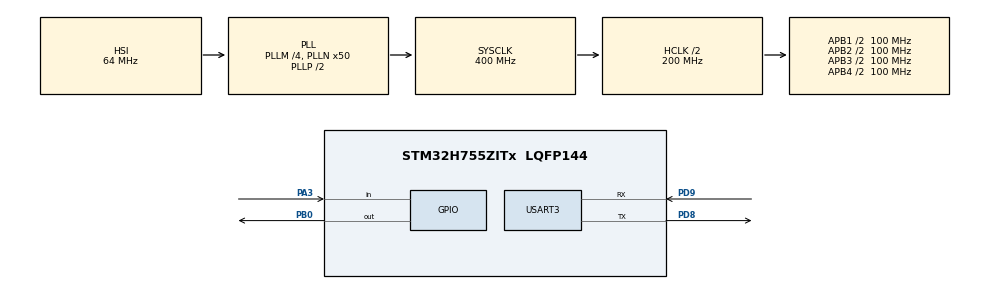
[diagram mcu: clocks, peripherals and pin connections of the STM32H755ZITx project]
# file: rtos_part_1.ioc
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CortexM4.IPs=FATFS_M4\:I,FREERTOS_M4\:I,IWDG2\:I,RCC,WWDG2\:I,DMA,BDMA,MDMA,NVIC2\:I,ETH,DEBUG,PDM2PCM_M4\:I,PWR,RESMGR_UTILITY,SYS_M4\:I,USB_DEVICE_M4\:I,USB_HOST_M4\:I,CORTEX_M4\:I,GPIO,OPENAMP_M4\:I,VREFBUF,NUCLEO-H755ZI-Q
CortexM7.IPs=FATFS_M7\:I,FREERTOS_M7\:I,IWDG1\:I,RCC\:I,WWDG1\:I,DMA\:I,BDMA\:I,MDMA\:I,NVIC1\:I,ETH\:I,USB_OTG_FS\:I,USB_OTG_FS1\:I,SYS\:I,CORTEX_M7\:I,DEBUG\:I,PDM2PCM_M7\:I,PWR\:I,RESMGR_UTILITY\:I,USB_DEVICE_M7\:I,USB_HOST_M7\:I,GPIO\:I,OPENAMP_M7\:I,VREFBUF\:I,NUCLEO-H755ZI-Q\:I,TIM6\:I,USART3\:I
CortexM7.Pins=PA3,PB0
FREERTOS_M7.Tasks01=Task1,24,128,Start_Task1,Default,NULL,Dynamic,NULL,NULL;Task02,24,256,StartTask02,Default,NULL,Dynamic,NULL,NULL;Task03,24,526,StartTask03,Default,NULL,Dynamic,NULL,NULL;monitor_Task,8,512,Start_monitor_04,Default,NULL,Dynamic,NULL,NULL
FREERTOS_M7.configCHECK_FOR_STACK_OVERFLOW=2
FREERTOS_M7.configUSE_NEWLIB_REENTRANT=1
Mcu.Family=STM32H7
Mcu.Name=STM32H755ZITx
Mcu.Package=LQFP144
NVIC1.PriorityGroup=NVIC_PRIORITYGROUP_4
NVIC1.TIM6_DAC_IRQn=true\:15\:0\:false\:false\:true\:false\:false\:true\:true
NVIC1.TimeBase=TIM6_DAC_IRQn
NVIC1.TimeBaseIP=TIM6
NVIC1.USART3_IRQn=true\:5\:0\:false\:false\:true\:true\:true\:true\:true
NVIC2.PriorityGroup=NVIC_PRIORITYGROUP_4
PA3.GPIO_PuPd=GPIO_PULLUP
PA3.PinAttribute=CortexM7
PA3.Signal=GPIO_Input
PB0.PinAttribute=CortexM7
PB0.PinState=GPIO_PIN_SET
PB0.Signal=GPIO_Output
PD8.Mode=Asynchronous
PD8.PinAttribute=CortexM7
PD8.Signal=USART3_TX
PD9.Mode=Asynchronous
PD9.PinAttribute=CortexM7
PD9.Signal=USART3_RX
ProjectManager.HeapSize=M4-0x200,M7-0x200
ProjectManager.StackSize=M4-0x400,M7-0x400
ProjectManager.TargetToolchain=STM32CubeIDE
RCC.ADCFreq_Value=129000000
RCC.APB1Freq_Value=100000000
RCC.APB2Freq_Value=100000000
RCC.APB3Freq_Value=100000000
RCC.APB4Freq_Value=100000000
RCC.CortexFreq_Value=400000000
RCC.D1PPRE=RCC_APB3_DIV2
RCC.D2PPRE1=RCC_APB1_DIV2
RCC.D2PPRE2=RCC_APB2_DIV2
RCC.D3PPRE=RCC_APB4_DIV2
RCC.DIVM1=4
RCC.DIVN1=50
RCC.DIVQ1=5
RCC.HCLKFreq_Value=200000000
RCC.HPRE=RCC_HCLK_DIV2
RCC.PLL2FRACN=0
RCC.PLL3FRACN=0
RCC.PLLFRACN=0
RCC.SYSCLKFreq_VALUE=400000000
RCC.SYSCLKSource=RCC_SYSCLKSOURCE_PLLCLK
RCC.SupplySource=PWR_DIRECT_SMPS_SUPPLY
RCC.USBFreq_Value=160000000
USART3.VirtualMode-Asynchronous=VM_ASYNC
VP_FREERTOS_M7_VS_CMSIS_V2.Mode=CMSIS_V2
VP_SYS_M4_VS_Systick.Mode=SysTick
VP_SYS_VS_tim6.Mode=TIM6
board=NUCLEO-H755ZI-Q

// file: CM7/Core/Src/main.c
/* USER CODE BEGIN Header */
/**
  ******************************************************************************
  * @file           : main.c
  * @brief          : Main program body
  ******************************************************************************
  * @attention
  *
  * Copyright (c) 2026 STMicroelectronics.
  * All rights reserved.
  *
  * This software is licensed under terms that can be found in the LICENSE file
  * in the root directory of this software component.
  * If no LICENSE file comes with this software, it is provided AS-IS.
  *
  ******************************************************************************
  */
/* USER CODE END Header */
#include "main.h"
#include "FreeRTOS.h"
#include "cmsis_os2.h"

/* USER CODE BEGIN Includes */
#include "stdio.h"
/* USER CODE END Includes */

/* USER CODE BEGIN PD */

/* DUAL_CORE_BOOT_SYNC_SEQUENCE: Define for dual core boot synchronization    */
/*                             demonstration code based on hardware semaphore */
/* This define is present in both CM7/CM4 projects                            */
/* To comment when developping/debugging on a single core                     */
#define DUAL_CORE_BOOT_SYNC_SEQUENCE

#if defined(DUAL_CORE_BOOT_SYNC_SEQUENCE)
#ifndef HSEM_ID_0
#define HSEM_ID_0 (0U) /* HW semaphore 0*/
#endif
#endif /* DUAL_CORE_BOOT_SYNC_SEQUENCE */

/* USER CODE END PD */

UART_HandleTypeDef huart3;

/* Definitions for Task1 */
osThreadId_t Task1Handle;
const osThreadAttr_t Task1_attributes = {
  .name = "Task1",
  .stack_size = 128 * 4,
  .priority = (osPriority_t) osPriorityNormal,
};
/* Definitions for Task02 */
osThreadId_t Task02Handle;
const osThreadAttr_t Task02_attributes = {
  .name = "Task02",
  .stack_size = 256 * 4,
  .priority = (osPriority_t) osPriorityNormal,
};
/* Definitions for Task03 */
osThreadId_t Task03Handle;
const osThreadAttr_t Task03_attributes = {
  .name = "Task03",
  .stack_size = 526 * 4,
  .priority = (osPriority_t) osPriorityNormal,
};
/* Definitions for monitor_Task */
osThreadId_t monitor_TaskHandle;
const osThreadAttr_t monitor_Task_attributes = {
  .name = "monitor_Task",
  .stack_size = 512 * 4,
  .priority = (osPriority_t) osPriorityLow,
};
/* USER CODE BEGIN PV */
#define BUTTON_PRESS (1<<3)
#define UART_RECEIVED (1<<4)
uint8_t data_rece[10];
/* USER CODE END PV */

void SystemClock_Config(void);
static void MX_GPIO_Init(void);
static void MX_USART3_UART_Init(void);
void Start_Task1(void *argument);
void StartTask02(void *argument);
void StartTask03(void *argument);
void Start_monitor_04(void *argument);

/* USER CODE BEGIN 0 */
typedef struct {
	uint32_t timestamp;
	uint32_t event_id;
}message_q_t;
int _io_putchar(uint8_t ch){
	HAL_UART_Transmit(&huart3,&ch, 1, HAL_MAX_DELAY);
	return ch;
}
 int _write(int file, char *ptr, int len)
{
  (void)file;
  int DataIdx;

  for (DataIdx = 0; DataIdx < len; DataIdx++)
  {
	  _io_putchar(*ptr++);
  }
  return len;
}

// int getResource(char *taskName){
//	 for(int i=0;i<3;i++){
//		 if(strcmp(resourceowner[i],"free")==0)
//		 {
//			 resourceowner[i]=taskName;
//			 return i;
//		 }
//	 }
//	 return -1;
// }

// void printResourceTable(void){
//	 printf("\nResource Table \n");
//	 for(int i=0;i<3;i++){
//		 printf("resource %d -> %s\n",resources[i],resourceowner[i]);
//	 }
//	 printf("\n");
//
// }

/* USER CODE END 0 */

int main(void)
{

/* USER CODE BEGIN Boot_Mode_Sequence_0 */
//#if defined(DUAL_CORE_BOOT_SYNC_SEQUENCE)
//  int32_t timeout;
//#endif /* DUAL_CORE_BOOT_SYNC_SEQUENCE */
/* USER CODE END Boot_Mode_Sequence_0 */

/* USER CODE BEGIN Boot_Mode_Sequence_1 */
//#if defined(DUAL_CORE_BOOT_SYNC_SEQUENCE)
//  /* Wait until CPU2 boots and enters in stop mode or timeout*/
//  timeout = 0xFFFF;
//  while((__HAL_RCC_GET_FLAG(RCC_FLAG_D2CKRDY) != RESET) && (timeout-- > 0));
//  if ( timeout < 0 )
//  {
//  Error_Handler();
//  }
//#endif /* DUAL_CORE_BOOT_SYNC_SEQUENCE */
/* USER CODE END Boot_Mode_Sequence_1 */
  /* MCU Configuration--------------------------------------------------------*/

  /* Reset of all peripherals, Initializes the Flash interface and the Systick. */
  HAL_Init();

  /* Configure the system clock */
  SystemClock_Config();
/* USER CODE BEGIN Boot_Mode_Sequence_2 */
//#if defined(DUAL_CORE_BOOT_SYNC_SEQUENCE)
///* When system initialization is finished, Cortex-M7 will release Cortex-M4 by means of
//HSEM notification */
///*HW semaphore Clock enable*/
//__HAL_RCC_HSEM_CLK_ENABLE();
///*Take HSEM */
//HAL_HSEM_FastTake(HSEM_ID_0);
///*Release HSEM in order to notify the CPU2(CM4)*/
//HAL_HSEM_Release(HSEM_ID_0,0);
///* wait until CPU2 wakes up from stop mode */
//timeout = 0xFFFF;
//while((__HAL_RCC_GET_FLAG(RCC_FLAG_D2CKRDY) == RESET) && (timeout-- > 0));
//if ( timeout < 0 )
//{
//Error_Handler();
//}
//#endif /* DUAL_CORE_BOOT_SYNC_SEQUENCE */
/* USER CODE END Boot_Mode_Sequence_2 */

  /* Initialize all configured peripherals */
  MX_GPIO_Init();
  MX_USART3_UART_Init();
  /* USER CODE BEGIN 2 */
HAL_UART_Receive_IT(&huart3, data_rece, 5);
  /* USER CODE END 2 */

  /* Init scheduler */
  osKernelInitialize();

  /* Create the thread(s) */
  /* creation of Task1 */
  Task1Handle = osThreadNew(Start_Task1, NULL, &Task1_attributes);

  /* creation of Task02 */
  Task02Handle = osThreadNew(StartTask02, NULL, &Task02_attributes);

  /* creation of Task03 */
  Task03Handle = osThreadNew(StartTask03, NULL, &Task03_attributes);

  /* creation of monitor_Task */
  monitor_TaskHandle = osThreadNew(Start_monitor_04, NULL, &monitor_Task_attributes);

  /* Start scheduler */
  osKernelStart();

  /* We should never get here as control is now taken by the scheduler */

  /* Infinite loop */
  while (1)
  {

  }
}

void SystemClock_Config(void)
{
  RCC_OscInitTypeDef RCC_OscInitStruct = {0};
  RCC_ClkInitTypeDef RCC_ClkInitStruct = {0};

  /** Supply configuration update enable
  */
  HAL_PWREx_ConfigSupply(PWR_DIRECT_SMPS_SUPPLY);

  /** Configure the main internal regulator output voltage
  */
  __HAL_PWR_VOLTAGESCALING_CONFIG(PWR_REGULATOR_VOLTAGE_SCALE1);

  while(!__HAL_PWR_GET_FLAG(PWR_FLAG_VOSRDY)) {}

  /** Initializes the RCC Oscillators according to the specified parameters
  * in the RCC_OscInitTypeDef structure.
  */
  RCC_OscInitStruct.OscillatorType = RCC_OSCILLATORTYPE_HSI;
  RCC_OscInitStruct.HSIState = RCC_HSI_DIV1;
  RCC_OscInitStruct.HSICalibrationValue = RCC_HSICALIBRATION_DEFAULT;
  RCC_OscInitStruct.PLL.PLLState = RCC_PLL_ON;
  RCC_OscInitStruct.PLL.PLLSource = RCC_PLLSOURCE_HSI;
  RCC_OscInitStruct.PLL.PLLM = 4;
  RCC_OscInitStruct.PLL.PLLN = 50;
  RCC_OscInitStruct.PLL.PLLP = 2;
  RCC_OscInitStruct.PLL.PLLQ = 5;
  RCC_OscInitStruct.PLL.PLLR = 2;
  RCC_OscInitStruct.PLL.PLLRGE = RCC_PLL1VCIRANGE_3;
  RCC_OscInitStruct.PLL.PLLVCOSEL = RCC_PLL1VCOWIDE;
  RCC_OscInitStruct.PLL.PLLFRACN = 0;
  if (HAL_RCC_OscConfig(&RCC_OscInitStruct) != HAL_OK)
  {
    Error_Handler();
  }

  /** Initializes the CPU, AHB and APB buses clocks
  */
  RCC_ClkInitStruct.ClockType = RCC_CLOCKTYPE_HCLK|RCC_CLOCKTYPE_SYSCLK
                              |RCC_CLOCKTYPE_PCLK1|RCC_CLOCKTYPE_PCLK2
                              |RCC_CLOCKTYPE_D3PCLK1|RCC_CLOCKTYPE_D1PCLK1;
  RCC_ClkInitStruct.SYSCLKSource = RCC_SYSCLKSOURCE_PLLCLK;
  RCC_ClkInitStruct.SYSCLKDivider = RCC_SYSCLK_DIV1;
  RCC_ClkInitStruct.AHBCLKDivider = RCC_HCLK_DIV2;
  RCC_ClkInitStruct.APB3CLKDivider = RCC_APB3_DIV2;
  RCC_ClkInitStruct.APB1CLKDivider = RCC_APB1_DIV2;
  RCC_ClkInitStruct.APB2CLKDivider = RCC_APB2_DIV2;
  RCC_ClkInitStruct.APB4CLKDivider = RCC_APB4_DIV2;

  if (HAL_RCC_ClockConfig(&RCC_ClkInitStruct, FLASH_LATENCY_2) != HAL_OK)
  {
    Error_Handler();
  }
}

static void MX_USART3_UART_Init(void)
{

  huart3.Instance = USART3;
  huart3.Init.BaudRate = 115200;
  huart3.Init.WordLength = UART_WORDLENGTH_8B;
  huart3.Init.StopBits = UART_STOPBITS_1;
  huart3.Init.Parity = UART_PARITY_NONE;
  huart3.Init.Mode = UART_MODE_TX_RX;
  huart3.Init.HwFlowCtl = UART_HWCONTROL_NONE;
  huart3.Init.OverSampling = UART_OVERSAMPLING_16;
  huart3.Init.OneBitSampling = UART_ONE_BIT_SAMPLE_DISABLE;
  huart3.Init.ClockPrescaler = UART_PRESCALER_DIV1;
  huart3.AdvancedInit.AdvFeatureInit = UART_ADVFEATURE_NO_INIT;
  if (HAL_UART_Init(&huart3) != HAL_OK)
  {
    Error_Handler();
  }
  if (HAL_UARTEx_SetTxFifoThreshold(&huart3, UART_TXFIFO_THRESHOLD_1_8) != HAL_OK)
  {
    Error_Handler();
  }
  if (HAL_UARTEx_SetRxFifoThreshold(&huart3, UART_RXFIFO_THRESHOLD_1_8) != HAL_OK)
  {
    Error_Handler();
  }
  if (HAL_UARTEx_DisableFifoMode(&huart3) != HAL_OK)
  {
    Error_Handler();
  }

}

static void MX_GPIO_Init(void)
{
  GPIO_InitTypeDef GPIO_InitStruct = {0};

  /* GPIO Ports Clock Enable */
  __HAL_RCC_GPIOA_CLK_ENABLE();
  __HAL_RCC_GPIOB_CLK_ENABLE();
  __HAL_RCC_GPIOD_CLK_ENABLE();

  /*Configure GPIO pin Output Level */
  HAL_GPIO_WritePin(GPIOB, GPIO_PIN_0, GPIO_PIN_SET);

  /*Configure GPIO pin : PA3 */
  GPIO_InitStruct.Pin = GPIO_PIN_3;
  GPIO_InitStruct.Mode = GPIO_MODE_INPUT;
  GPIO_InitStruct.Pull = GPIO_PULLUP;
  HAL_GPIO_Init(GPIOA, &GPIO_InitStruct);

  /*Configure GPIO pin : PB0 */
  GPIO_InitStruct.Pin = GPIO_PIN_0;
  GPIO_InitStruct.Mode = GPIO_MODE_OUTPUT_PP;
  GPIO_InitStruct.Pull = GPIO_NOPULL;
  GPIO_InitStruct.Speed = GPIO_SPEED_FREQ_LOW;
  HAL_GPIO_Init(GPIOB, &GPIO_InitStruct);

}

/* USER CODE BEGIN 4 */
#define TASK_EVENT_1 (1<<0)
#define TASK_EVENT_2 (1<<1)
#define TASK_EVENT_3 (1<<2)
#define TASK_EVENT_4 (1<<3)

/* USER CODE END 4 */

void Start_Task1(void *argument)
{
  /* USER CODE BEGIN 5 */
  /* Infinite loop */

uint32_t dat[55];
  for(;;)
  {
	  printf("hello from task1\n");
	  osDelay(2000);

}

  /* USER CODE END 5 */
}

void StartTask02(void *argument)
{
  for(;;)
  {
    osDelay(1);
  }
}

void StartTask03(void *argument)
{
  for(;;)
  {
    osDelay(1);
  }
}

void Start_monitor_04(void *argument)
{
  /* USER CODE BEGIN Start_monitor_04 */
	 uint32_t task1stack,task2stack,task3stack;
  /* Infinite loop */
  for(;;)
  {
	  osDelay(5000);
	task1stack=osThreadGetStackSpace(Task1Handle);
	task2stack=osThreadGetStackSpace(Task02Handle);

	task3stack=osThreadGetStackSpace(Task03Handle);
printf("the diff stack in order are task1 %lu\n task2  %lu\n task3 %lu\n",task1stack,task2stack,task3stack);

    osDelay(1);
  }
  /* USER CODE END Start_monitor_04 */
}

void HAL_TIM_PeriodElapsedCallback(TIM_HandleTypeDef *htim)
{
  if (htim->Instance == TIM6)
  {
    HAL_IncTick();
  }
}

void Error_Handler(void)
{
  __disable_irq();
  while (1)
  {
  }
}

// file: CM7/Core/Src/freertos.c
/* USER CODE BEGIN Header */
/**
  ******************************************************************************
  * File Name          : freertos.c
  * Description        : Code for freertos applications
  ******************************************************************************
  * @attention
  *
  * Copyright (c) 2026 STMicroelectronics.
  * All rights reserved.
  *
  * This software is licensed under terms that can be found in the LICENSE file
  * in the root directory of this software component.
  * If no LICENSE file comes with this software, it is provided AS-IS.
  *
  ******************************************************************************
  */
/* USER CODE END Header */

#include "FreeRTOS.h"
#include "task.h"
#include "main.h"
#include "stdio.h"

/* USER CODE BEGIN PD */
extern UART_HandleTypeDef huart3;
/* USER CODE END PD */

/* Hook prototypes */
void vApplicationStackOverflowHook(xTaskHandle xTask, char *pcTaskName);

/* USER CODE BEGIN 4 */
void vApplicationStackOverflowHook(xTaskHandle xTask, char *pcTaskName)
{
   /* Run time stack overflow checking is performed if
   configCHECK_FOR_STACK_OVERFLOW is defined to 1 or 2. This hook function is
   called if a stack overflow is detected. */
//printf("stack overflow detected\r\n");//not working coz standard packages wont work at low level so use low level handlers

	 HAL_UART_DeInit(&huart3);
	 HAL_UART_Init(&huart3);
	 char ch[100];
	 int len=sprintf(ch,"overflow detected\n %s",pcTaskName);
	 HAL_UART_Transmit(&huart3, (uint8_t *)ch, len, HAL_MAX_DELAY);

while(1);//using so overflow occurs and the loop remains stuck here without affecting others.
}
/* USER CODE END 4 */
